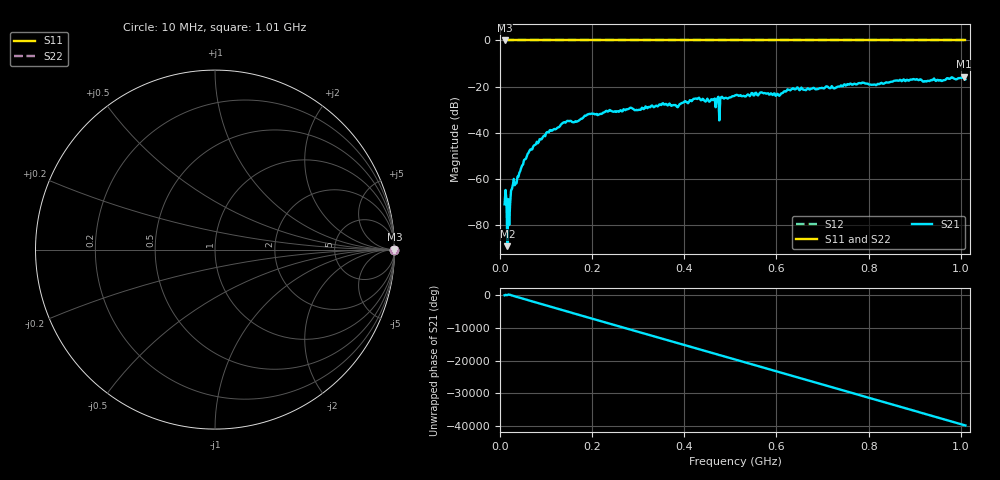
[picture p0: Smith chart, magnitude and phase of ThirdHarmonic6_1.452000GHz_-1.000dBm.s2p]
! 8/16/2025 4:50:43 PM
! C:\ANRITSUVNA\TEMP\TEMP.S2P
! CHANNEL.1
! TR.MEASUREMENT
! RAW.DATA
! RF.CORRECTION.OFF
! AVERAGING.OFF
! IF.BANDWIDTH: 5KHZ
! SWEEPTYPE:  FREQ.SWEEP(Linear)
! Reference Plane Port Info
! PORT:  PORT1  PORT2
! DISTANCE:  0  m  0  m
! TIME:  0  s  0  s
! PHASE.OFFSET:  0  deg.  0  deg.
! LOSS:  0  dB  0  dB
! REF.LOSS:  0  dB  0  dB
! REF.FREQ:  0  Hz  0  Hz
! Power Info
! POWER:  -20  dBm  -20  dBm
! EFF.POWER:  -20  dBm  -20  dBm
! SOURCE.ATTEN:  0  dB  0  dB
! TEST.ATTEN:  0  dB  0  dB
# GHZ S RI R 50.0
! FREQ.GHZ  S11RE  S11IM  S21RE  S21IM  S12RE  S12IM  S22RE  S22IM
!; PortSelection: Port_12
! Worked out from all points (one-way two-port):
!   501 points, 10 MHz to 1.01 GHz, reference 50 ohm
!   highest |S21| = -15.68 dB at 1.006 GHz (marker M1); lowest = -89.0 dB at 16 MHz (marker M2)
!   lowest |S11| = 0.0 dB at 10 MHz (marker M3)
!   |S11| at or under -10 dB: nowhere
!   |S22| runs from 0.0 to 0.0 dB; largest |S21 - S12| = 1.1
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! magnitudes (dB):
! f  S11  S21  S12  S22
! 10 MHz  0.0  -70.9  0.0  0.0
! 16 MHz  0.0  -89.0  0.0  0.0
! 20 MHz  0.0  -79.9  0.0  0.0
! 28 MHz  0.0  -62.3  0.0  0.0
! 36 MHz  0.0  -61.8  0.0  0.0
! 62 MHz  0.0  -48.6  0.0  0.0
! 76 MHz  0.0  -45.2  0.0  0.0
! 136 MHz  0.0  -35.7  0.0  0.0
! 178 MHz  0.0  -33.9  0.0  0.0
! 344 MHz  0.0  -28.2  0.0  0.0
! 384 MHz  0.0  -28.7  0.0  0.0
! 428 MHz  0.0  -25.3  0.0  0.0
! 470 MHz  0.0  -25.6  0.0  0.0
! 472 MHz  0.0  -25.0  0.0  0.0
! 482 MHz  0.0  -24.4  0.0  0.0
! 510 MHz  0.0  -23.8  0.0  0.0
! 602 MHz  0.0  -23.1  0.0  0.0
! 636 MHz  0.0  -20.7  0.0  0.0
! 678 MHz  0.0  -20.7  0.0  0.0
! 844 MHz  0.0  -18.2  0.0  0.0
! 1.006 GHz  0.0  -15.7  0.0  0.0
! 1.01 GHz  0.0  -16.8  0.0  0.0
